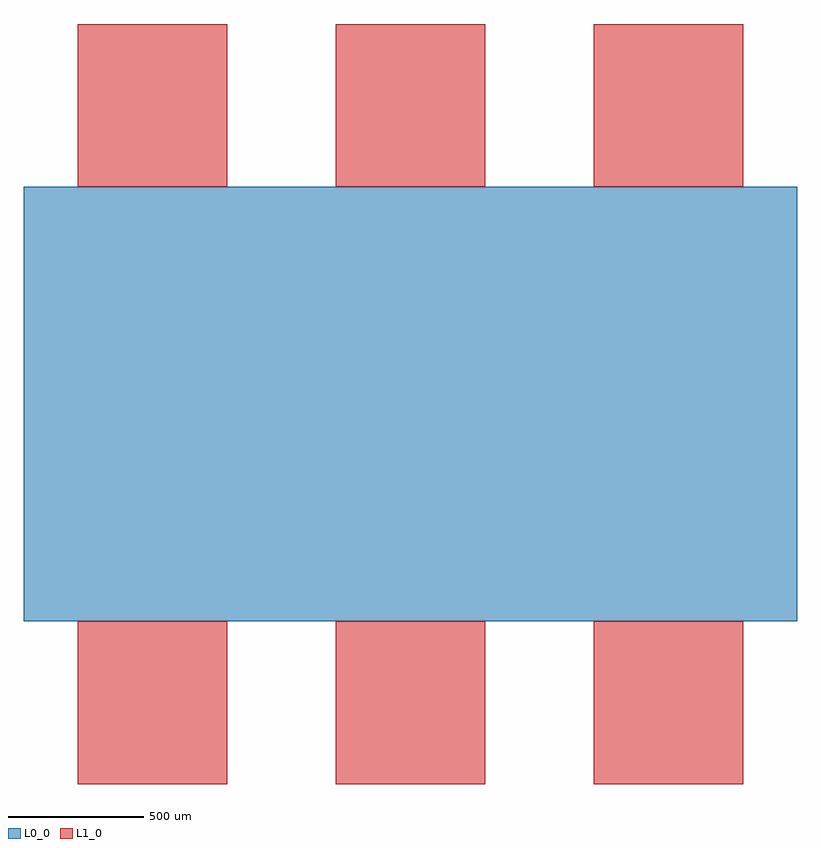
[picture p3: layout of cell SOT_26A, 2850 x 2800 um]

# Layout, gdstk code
import gdstk
lib = gdstk.Library(unit=1e-6, precision=1e-09)
def R(c, l, rs):  # rectangles x0, y0, x1, y1
    for r in rs: c.add(gdstk.rectangle(r[:2], r[2:], *l))
def A(c, l, x, y, w, h, nx, ny, dx, dy):  # array of equal rectangles
    R(c, l, [(x+i*dx, y+j*dy, x+i*dx+w, y+j*dy+h) for i in range(nx) for j in range(ny)])
L0_0 = (0, 0)
L1_0 = (1, 0)
L99_1 = (99, 1)
L99_2 = (99, 2)
L99_3 = (99, 3)
L99_4 = (99, 4)
L99_5 = (99, 5)

sot_26a = lib.new_cell('SOT_26A')
R(sot_26a, L0_0, [(0,0,2850,1600)])
A(sot_26a, L1_0, 200, -600, 550, 600, 3, 2, 950, 2200)
sot_26a.add(gdstk.FlexPath([(750,0),(200,0)], 0, ends="round", simple_path=True, layer=99, datatype=1))  # L99_1
sot_26a.add(gdstk.FlexPath([(1700,0),(1150,0)], 0, ends="round", simple_path=True, layer=99, datatype=2))  # L99_2
sot_26a.add(gdstk.FlexPath([(2100,1600),(2650,1600)], 0, ends="round", simple_path=True, layer=99, datatype=4))  # L99_4
sot_26a.add(gdstk.FlexPath([(2650,0),(2100,0)], 0, ends="round", simple_path=True, layer=99, datatype=3))  # L99_3
sot_26a.add(gdstk.FlexPath([(200,1600),(750,1600)], 0, ends="round", simple_path=True, layer=99, datatype=5))  # L99_5
sot_26a.add(gdstk.FlexPath([(1150,1600),(1700,1600)], 0, ends="round", simple_path=True, layer=99, datatype=5))  # L99_5

lib.write_gds('SOT_26A.gds')
